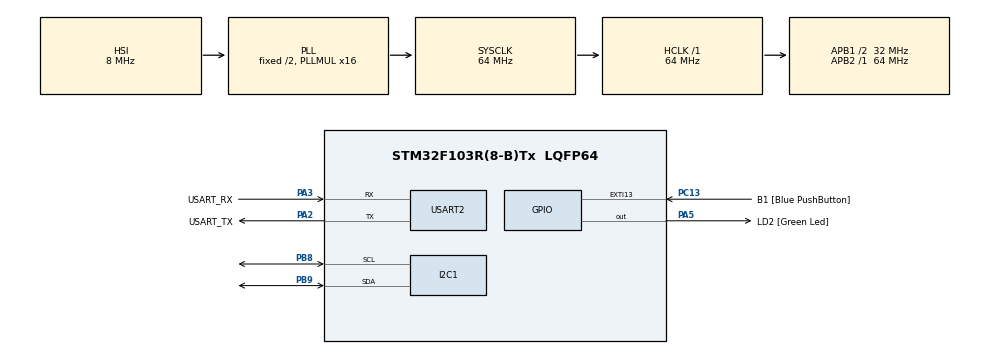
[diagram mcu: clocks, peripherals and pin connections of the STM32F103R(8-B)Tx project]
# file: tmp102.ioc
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Mcu.Family=STM32F1
Mcu.Name=STM32F103R(8-B)Tx
Mcu.Package=LQFP64
NVIC.EXTI15_10_IRQn=true\:0\:0\:false\:false\:true\:true\:true\:true
NVIC.PriorityGroup=NVIC_PRIORITYGROUP_4
PA13.GPIO_Label=TMS
PA13.Mode=Serial_Wire
PA13.Signal=SYS_JTMS-SWDIO
PA14.GPIO_Label=TCK
PA14.Mode=Serial_Wire
PA14.Signal=SYS_JTCK-SWCLK
PA2.GPIO_Label=USART_TX
PA2.GPIO_Mode=GPIO_MODE_AF_PP
PA2.GPIO_PuPd=GPIO_NOPULL
PA2.GPIO_Speed=GPIO_SPEED_FREQ_LOW
PA2.Mode=Asynchronous
PA2.Signal=USART2_TX
PA3.GPIO_Label=USART_RX
PA3.GPIO_Mode=GPIO_MODE_AF_PP
PA3.GPIO_PuPd=GPIO_NOPULL
PA3.GPIO_Speed=GPIO_SPEED_FREQ_LOW
PA3.Mode=Asynchronous
PA3.Signal=USART2_RX
PA5.GPIO_Label=LD2 [Green Led]
PA5.GPIO_ModeDefaultOutputPP=GPIO_MODE_OUTPUT_PP
PA5.GPIO_PuPd=GPIO_NOPULL
PA5.GPIO_Speed=GPIO_SPEED_FREQ_LOW
PA5.Signal=GPIO_Output
PB3.GPIO_Label=SWO
PB3.Signal=SYS_JTDO-TRACESWO
PB8.Mode=I2C
PB8.Signal=I2C1_SCL
PB9.Mode=I2C
PB9.Signal=I2C1_SDA
PC13-TAMPER-RTC.GPIO_Label=B1 [Blue PushButton]
PC13-TAMPER-RTC.GPIO_PuPd=GPIO_NOPULL
PC13-TAMPER-RTC.Signal=GPXTI13
PC14-OSC32_IN.Mode=LSE-External-Oscillator
PC14-OSC32_IN.Signal=RCC_OSC32_IN
PC15-OSC32_OUT.Mode=LSE-External-Oscillator
PC15-OSC32_OUT.Signal=RCC_OSC32_OUT
PD0-OSC_IN.Mode=HSE-External-Clock-Source
PD0-OSC_IN.Signal=RCC_OSC_IN
PD1-OSC_OUT.Mode=HSE-External-Clock-Source
PD1-OSC_OUT.Signal=RCC_OSC_OUT
ProjectManager.HeapSize=0x200
ProjectManager.StackSize=0x400
ProjectManager.TargetToolchain=STM32CubeIDE
RCC.AHBFreq_Value=64000000
RCC.APB1CLKDivider=RCC_HCLK_DIV2
RCC.APB1Freq_Value=32000000
RCC.APB1TimFreq_Value=64000000
RCC.APB2Freq_Value=64000000
RCC.APB2TimFreq_Value=64000000
RCC.HCLKFreq_Value=64000000
RCC.PLLMUL=RCC_PLL_MUL16
RCC.RTCClockSelection=RCC_RTCCLKSOURCE_LSE
RCC.SYSCLKFreq_VALUE=64000000
RCC.SYSCLKSource=RCC_SYSCLKSOURCE_PLLCLK
RCC.USBFreq_Value=64000000
USART2.VirtualMode=VM_ASYNC
board=NUCLEO-F103RB

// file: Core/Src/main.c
/* USER CODE BEGIN Header */
/**
  ******************************************************************************
  * @file           : main.c
  * @brief          : Main program body
  ******************************************************************************
  * @attention
  *
  * Copyright (c) 2022 STMicroelectronics.
  * All rights reserved.
  *
  * This software is licensed under terms that can be found in the LICENSE file
  * in the root directory of this software component.
  * If no LICENSE file comes with this software, it is provided AS-IS.
  *
  ******************************************************************************
  */
/* USER CODE END Header */
#include "main.h"

/* USER CODE BEGIN Includes */
#include <string.h>
#include <stdio.h>
/* USER CODE END Includes */

 I2C_HandleTypeDef hi2c1;

UART_HandleTypeDef huart2;

/* USER CODE BEGIN PV */
static const uint8_t TMP102_ADDR = 0x48 << 1; //Use 8-bit address
static const uint8_t REG_TEMP = 0x00;

/* USER CODE END PV */

void SystemClock_Config(void);
static void MX_GPIO_Init(void);
static void MX_USART2_UART_Init(void);
static void MX_I2C1_Init(void);

int main(void)
{
  /* USER CODE BEGIN 1 */
	HAL_StatusTypeDef ret;
	uint8_t buffer[12];
	int16_t val;
	float temp_c;
  /* USER CODE END 1 */

  /* MCU Configuration--------------------------------------------------------*/

  /* Reset of all peripherals, Initializes the Flash interface and the Systick. */
  HAL_Init();

  /* Configure the system clock */
  SystemClock_Config();

  /* Initialize all configured peripherals */
  MX_GPIO_Init();
  MX_USART2_UART_Init();
  MX_I2C1_Init();

  /* Infinite loop */
  /* USER CODE BEGIN WHILE */
  while (1)
  {
	  // Tell TMP12 that we want to read from the temperature register
	  buffer[0] = REG_TEMP;
	  ret = HAL_I2C_Master_Transmit(&hi2c1, TMP102_ADDR, buffer, 1, HAL_MAX_DELAY);
	  if(ret != HAL_OK)
		  strcpy((char*)buffer, "Error Tx\r\n");
	  else {
		  // Read 2 bytes from the temperature register
		  ret = HAL_I2C_Master_Receive(&hi2c1, TMP102_ADDR, buffer, 2, HAL_MAX_DELAY);
		  if(ret != HAL_OK)
			  strcpy((char*)buffer, "Error Rx\r\n");
		  else {
			  // Combine the bytes
			  val = ((int16_t)buffer[0] << 4) | (buffer[1] >> 4);

			  // Convert to 2's complement, since temperature can be negative
			  if(val > 0x7FF)
				  val |= 0xF000;

			  // Convert to float temperature value (Celsius)
			  temp_c = val * 0.0625;

			  // Convert temperature to decimal format
			  temp_c *= 100;
			  sprintf((char*)buffer, "%u.%02u C\r\n", ((unsigned int)temp_c / 100), ((unsigned int)temp_c % 100));
			  }
		  }
  // Send out buffer(temperature or error message)
	  HAL_UART_Transmit(&huart2, buffer, strlen((char*)buffer), HAL_MAX_DELAY);
	  HAL_Delay(500);
    /* USER CODE END WHILE */

  }
}

void SystemClock_Config(void)
{
  RCC_OscInitTypeDef RCC_OscInitStruct = {0};
  RCC_ClkInitTypeDef RCC_ClkInitStruct = {0};

  /** Initializes the RCC Oscillators according to the specified parameters
  * in the RCC_OscInitTypeDef structure.
  */
  RCC_OscInitStruct.OscillatorType = RCC_OSCILLATORTYPE_HSI;
  RCC_OscInitStruct.HSIState = RCC_HSI_ON;
  RCC_OscInitStruct.HSICalibrationValue = RCC_HSICALIBRATION_DEFAULT;
  RCC_OscInitStruct.PLL.PLLState = RCC_PLL_ON;
  RCC_OscInitStruct.PLL.PLLSource = RCC_PLLSOURCE_HSI_DIV2;
  RCC_OscInitStruct.PLL.PLLMUL = RCC_PLL_MUL16;
  if (HAL_RCC_OscConfig(&RCC_OscInitStruct) != HAL_OK)
  {
    Error_Handler();
  }

  /** Initializes the CPU, AHB and APB buses clocks
  */
  RCC_ClkInitStruct.ClockType = RCC_CLOCKTYPE_HCLK|RCC_CLOCKTYPE_SYSCLK
                              |RCC_CLOCKTYPE_PCLK1|RCC_CLOCKTYPE_PCLK2;
  RCC_ClkInitStruct.SYSCLKSource = RCC_SYSCLKSOURCE_PLLCLK;
  RCC_ClkInitStruct.AHBCLKDivider = RCC_SYSCLK_DIV1;
  RCC_ClkInitStruct.APB1CLKDivider = RCC_HCLK_DIV2;
  RCC_ClkInitStruct.APB2CLKDivider = RCC_HCLK_DIV1;

  if (HAL_RCC_ClockConfig(&RCC_ClkInitStruct, FLASH_LATENCY_2) != HAL_OK)
  {
    Error_Handler();
  }
}

static void MX_I2C1_Init(void)
{

  hi2c1.Instance = I2C1;
  hi2c1.Init.ClockSpeed = 100000;
  hi2c1.Init.DutyCycle = I2C_DUTYCYCLE_2;
  hi2c1.Init.OwnAddress1 = 0;
  hi2c1.Init.AddressingMode = I2C_ADDRESSINGMODE_7BIT;
  hi2c1.Init.DualAddressMode = I2C_DUALADDRESS_DISABLE;
  hi2c1.Init.OwnAddress2 = 0;
  hi2c1.Init.GeneralCallMode = I2C_GENERALCALL_DISABLE;
  hi2c1.Init.NoStretchMode = I2C_NOSTRETCH_DISABLE;
  if (HAL_I2C_Init(&hi2c1) != HAL_OK)
  {
    Error_Handler();
  }

}

static void MX_USART2_UART_Init(void)
{

  huart2.Instance = USART2;
  huart2.Init.BaudRate = 115200;
  huart2.Init.WordLength = UART_WORDLENGTH_8B;
  huart2.Init.StopBits = UART_STOPBITS_1;
  huart2.Init.Parity = UART_PARITY_NONE;
  huart2.Init.Mode = UART_MODE_TX_RX;
  huart2.Init.HwFlowCtl = UART_HWCONTROL_NONE;
  huart2.Init.OverSampling = UART_OVERSAMPLING_16;
  if (HAL_UART_Init(&huart2) != HAL_OK)
  {
    Error_Handler();
  }

}

static void MX_GPIO_Init(void)
{
  GPIO_InitTypeDef GPIO_InitStruct = {0};

  /* GPIO Ports Clock Enable */
  __HAL_RCC_GPIOC_CLK_ENABLE();
  __HAL_RCC_GPIOD_CLK_ENABLE();
  __HAL_RCC_GPIOA_CLK_ENABLE();
  __HAL_RCC_GPIOB_CLK_ENABLE();

  /*Configure GPIO pin Output Level */
  HAL_GPIO_WritePin(LD2_GPIO_Port, LD2_Pin, GPIO_PIN_RESET);

  /*Configure GPIO pin : B1_Pin */
  GPIO_InitStruct.Pin = B1_Pin;
  GPIO_InitStruct.Mode = GPIO_MODE_IT_RISING;
  GPIO_InitStruct.Pull = GPIO_NOPULL;
  HAL_GPIO_Init(B1_GPIO_Port, &GPIO_InitStruct);

  /*Configure GPIO pin : LD2_Pin */
  GPIO_InitStruct.Pin = LD2_Pin;
  GPIO_InitStruct.Mode = GPIO_MODE_OUTPUT_PP;
  GPIO_InitStruct.Pull = GPIO_NOPULL;
  GPIO_InitStruct.Speed = GPIO_SPEED_FREQ_LOW;
  HAL_GPIO_Init(LD2_GPIO_Port, &GPIO_InitStruct);

  /* EXTI interrupt init*/
  HAL_NVIC_SetPriority(EXTI15_10_IRQn, 0, 0);
  HAL_NVIC_EnableIRQ(EXTI15_10_IRQn);

}

void Error_Handler(void)
{
  __disable_irq();
  while (1)
  {
  }
}
